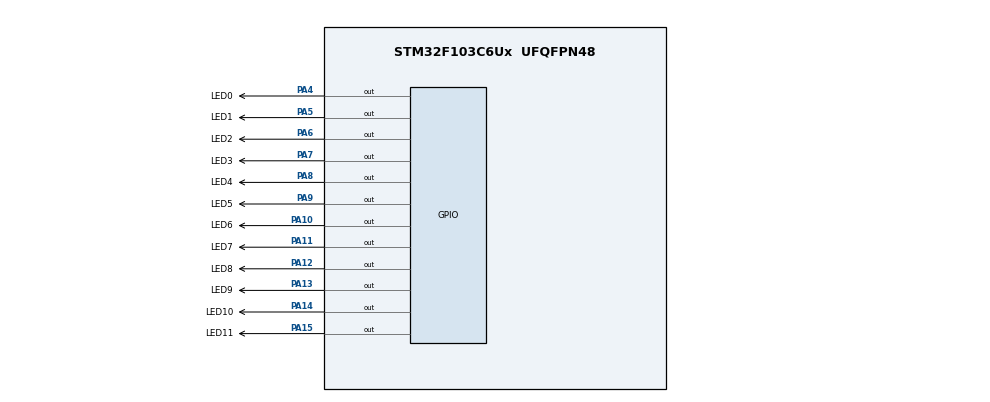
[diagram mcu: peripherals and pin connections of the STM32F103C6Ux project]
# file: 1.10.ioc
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Mcu.Family=STM32F1
Mcu.Name=STM32F103C6Ux
Mcu.Package=UFQFPN48
NVIC.PriorityGroup=NVIC_PRIORITYGROUP_4
PA10.GPIO_Label=LED6
PA10.Signal=GPIO_Output
PA11.GPIO_Label=LED7
PA11.Signal=GPIO_Output
PA12.GPIO_Label=LED8
PA12.Signal=GPIO_Output
PA13.GPIO_Label=LED9
PA13.Signal=GPIO_Output
PA14.GPIO_Label=LED10
PA14.Signal=GPIO_Output
PA15.GPIO_Label=LED11
PA15.Signal=GPIO_Output
PA4.GPIO_Label=LED0
PA4.Signal=GPIO_Output
PA5.GPIO_Label=LED1
PA5.Signal=GPIO_Output
PA6.GPIO_Label=LED2
PA6.Signal=GPIO_Output
PA7.GPIO_Label=LED3
PA7.Signal=GPIO_Output
PA8.GPIO_Label=LED4
PA8.Signal=GPIO_Output
PA9.GPIO_Label=LED5
PA9.Signal=GPIO_Output
ProjectManager.HeapSize=0x200
ProjectManager.StackSize=0x400
ProjectManager.TargetToolchain=STM32CubeIDE
RCC.APB1Freq_Value=8000000
RCC.APB2Freq_Value=8000000
VP_SYS_VS_ND.Mode=No_Debug
board=custom

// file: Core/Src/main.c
/* USER CODE BEGIN Header */
/**
  ******************************************************************************
  * @file           : main.c
  * @brief          : Main program body
  ******************************************************************************
  * @attention
  *
  * <h2><center>&copy; Copyright (c) 2023 STMicroelectronics.
  * All rights reserved.</center></h2>
  *
  * This software component is licensed by ST under BSD 3-Clause license,
  * the "License"; You may not use this file except in compliance with the
  * License. You may obtain a copy of the License at:
  *                        opensource.org/licenses/BSD-3-Clause
  *
  ******************************************************************************
  */
/* USER CODE END Header */
#include "main.h"

void SystemClock_Config(void);
static void MX_GPIO_Init(void);

/* USER CODE BEGIN 0 */
void clearAllClock () {
	  HAL_GPIO_WritePin(LED0_GPIO_Port, LED0_Pin, RESET);
	  HAL_GPIO_WritePin(LED1_GPIO_Port, LED1_Pin, RESET);
	  HAL_GPIO_WritePin(LED2_GPIO_Port, LED2_Pin, RESET);
	  HAL_GPIO_WritePin(LED3_GPIO_Port, LED3_Pin, RESET);
	  HAL_GPIO_WritePin(LED4_GPIO_Port, LED4_Pin, RESET);
	  HAL_GPIO_WritePin(LED5_GPIO_Port, LED5_Pin, RESET);
	  HAL_GPIO_WritePin(LED6_GPIO_Port, LED6_Pin, RESET);
	  HAL_GPIO_WritePin(LED7_GPIO_Port, LED7_Pin, RESET);
	  HAL_GPIO_WritePin(LED8_GPIO_Port, LED8_Pin, RESET);
	  HAL_GPIO_WritePin(LED9_GPIO_Port, LED9_Pin, RESET);
	  HAL_GPIO_WritePin(LED10_GPIO_Port, LED10_Pin, RESET);
	  HAL_GPIO_WritePin(LED11_GPIO_Port, LED11_Pin, RESET);
  }
void setNumberOnClock(int num){
	  if(num == 0){
	  	  HAL_GPIO_WritePin(LED0_GPIO_Port, LED0_Pin, SET);
	  }
	  else if(num == 1){
		  HAL_GPIO_WritePin(LED1_GPIO_Port, LED1_Pin, SET);
	  }
	  else if(num == 2){
	  		  HAL_GPIO_WritePin(LED2_GPIO_Port, LED2_Pin, SET);
	  }
	  else if(num == 3){
	  		  HAL_GPIO_WritePin(LED3_GPIO_Port, LED3_Pin, SET);
	  }
	  else if(num == 4){
	  		  HAL_GPIO_WritePin(LED4_GPIO_Port, LED4_Pin, SET);
	  }
	  else if(num == 5){
	  		  HAL_GPIO_WritePin(LED5_GPIO_Port, LED5_Pin, SET);
	  }
	  else if(num == 6){
	  		  HAL_GPIO_WritePin(LED6_GPIO_Port, LED6_Pin, SET);
	  }
	  else if(num == 7){
	  		  HAL_GPIO_WritePin(LED7_GPIO_Port, LED7_Pin, SET);
	  }
	  else if(num == 8){
	  		  HAL_GPIO_WritePin(LED8_GPIO_Port, LED8_Pin, SET);
	  }
	  else if(num == 9){
	  		  HAL_GPIO_WritePin(LED9_GPIO_Port, LED9_Pin, SET);
	  }
	  else if(num == 10){
	  		  HAL_GPIO_WritePin(LED10_GPIO_Port, LED10_Pin, SET);
	  }
	  else if(num == 11){
	  		  HAL_GPIO_WritePin(LED11_GPIO_Port, LED11_Pin, SET);
	  }

  }
void clearNumberOnClock(int num){
	  if(num == 0){
	  	  HAL_GPIO_WritePin(LED0_GPIO_Port, LED0_Pin, RESET);
	  }
	  else if(num == 1){
		  HAL_GPIO_WritePin(LED1_GPIO_Port, LED1_Pin, RESET);
	  }
	  else if(num == 2){
	  		  HAL_GPIO_WritePin(LED2_GPIO_Port, LED2_Pin, RESET);
	  }
	  else if(num == 3){
	  		  HAL_GPIO_WritePin(LED3_GPIO_Port, LED3_Pin, RESET);
	  }
	  else if(num == 4){
	  		  HAL_GPIO_WritePin(LED4_GPIO_Port, LED4_Pin, RESET);
	  }
	  else if(num == 5){
	  		  HAL_GPIO_WritePin(LED5_GPIO_Port, LED5_Pin, RESET);
	  }
	  else if(num == 6){
	  		  HAL_GPIO_WritePin(LED6_GPIO_Port, LED6_Pin, RESET);
	  }
	  else if(num == 7){
	  		  HAL_GPIO_WritePin(LED7_GPIO_Port, LED7_Pin, RESET);
	  }
	  else if(num == 8){
	  		  HAL_GPIO_WritePin(LED8_GPIO_Port, LED8_Pin, RESET);
	  }
	  else if(num == 9){
	  		  HAL_GPIO_WritePin(LED9_GPIO_Port, LED9_Pin, RESET);
	  }
	  else if(num == 10){
	  		  HAL_GPIO_WritePin(LED10_GPIO_Port, LED10_Pin, RESET);
	  }
	  else if(num == 11){
	  		  HAL_GPIO_WritePin(LED11_GPIO_Port, LED11_Pin, RESET);
	  }

}
/* USER CODE END 0 */

int main(void)
{

  /* MCU Configuration--------------------------------------------------------*/

  /* Reset of all peripherals, Initializes the Flash interface and the Systick. */
  HAL_Init();

  /* Configure the system clock */
  SystemClock_Config();

  /* Initialize all configured peripherals */
  MX_GPIO_Init();

  /* Infinite loop */
  /* USER CODE BEGIN WHILE */

  int second = 0, minute = 0, hour = 0;
  while (1)
  {
	  clearAllClock();
	  setNumberOnClock(second/5);
	  setNumberOnClock(minute/5);
	  setNumberOnClock(hour);
	  if(second >= 60){
		  second = 0;
		  minute++;
	  }
	  if(minute >= 60){
		  minute = 0;
		  hour++;
	  }
	  if(hour >= 12){
		  hour = 0;
	  }
	  second++;

	  HAL_Delay(100);
  }
  /* USER CODE END 3 */
}

void SystemClock_Config(void)
{
  RCC_OscInitTypeDef RCC_OscInitStruct = {0};
  RCC_ClkInitTypeDef RCC_ClkInitStruct = {0};

  /** Initializes the RCC Oscillators according to the specified parameters
  * in the RCC_OscInitTypeDef structure.
  */
  RCC_OscInitStruct.OscillatorType = RCC_OSCILLATORTYPE_HSI;
  RCC_OscInitStruct.HSIState = RCC_HSI_ON;
  RCC_OscInitStruct.HSICalibrationValue = RCC_HSICALIBRATION_DEFAULT;
  RCC_OscInitStruct.PLL.PLLState = RCC_PLL_NONE;
  if (HAL_RCC_OscConfig(&RCC_OscInitStruct) != HAL_OK)
  {
    Error_Handler();
  }
  /** Initializes the CPU, AHB and APB buses clocks
  */
  RCC_ClkInitStruct.ClockType = RCC_CLOCKTYPE_HCLK|RCC_CLOCKTYPE_SYSCLK
                              |RCC_CLOCKTYPE_PCLK1|RCC_CLOCKTYPE_PCLK2;
  RCC_ClkInitStruct.SYSCLKSource = RCC_SYSCLKSOURCE_HSI;
  RCC_ClkInitStruct.AHBCLKDivider = RCC_SYSCLK_DIV1;
  RCC_ClkInitStruct.APB1CLKDivider = RCC_HCLK_DIV1;
  RCC_ClkInitStruct.APB2CLKDivider = RCC_HCLK_DIV1;

  if (HAL_RCC_ClockConfig(&RCC_ClkInitStruct, FLASH_LATENCY_0) != HAL_OK)
  {
    Error_Handler();
  }
}

static void MX_GPIO_Init(void)
{
  GPIO_InitTypeDef GPIO_InitStruct = {0};

  /* GPIO Ports Clock Enable */
  __HAL_RCC_GPIOA_CLK_ENABLE();

  /*Configure GPIO pin Output Level */
  HAL_GPIO_WritePin(GPIOA, LED0_Pin|LED1_Pin|LED2_Pin|LED3_Pin
                          |LED4_Pin|LED5_Pin|LED6_Pin|LED7_Pin
                          |LED8_Pin|LED9_Pin|LED10_Pin|LED11_Pin, GPIO_PIN_RESET);

  /*Configure GPIO pins : LED0_Pin LED1_Pin LED2_Pin LED3_Pin
                           LED4_Pin LED5_Pin LED6_Pin LED7_Pin
                           LED8_Pin LED9_Pin LED10_Pin LED11_Pin */
  GPIO_InitStruct.Pin = LED0_Pin|LED1_Pin|LED2_Pin|LED3_Pin
                          |LED4_Pin|LED5_Pin|LED6_Pin|LED7_Pin
                          |LED8_Pin|LED9_Pin|LED10_Pin|LED11_Pin;
  GPIO_InitStruct.Mode = GPIO_MODE_OUTPUT_PP;
  GPIO_InitStruct.Pull = GPIO_NOPULL;
  GPIO_InitStruct.Speed = GPIO_SPEED_FREQ_LOW;
  HAL_GPIO_Init(GPIOA, &GPIO_InitStruct);

}

void Error_Handler(void)
{
  __disable_irq();
  while (1)
  {
  }
}

/************************ (C) COPYRIGHT STMicroelectronics *****END OF FILE****/
